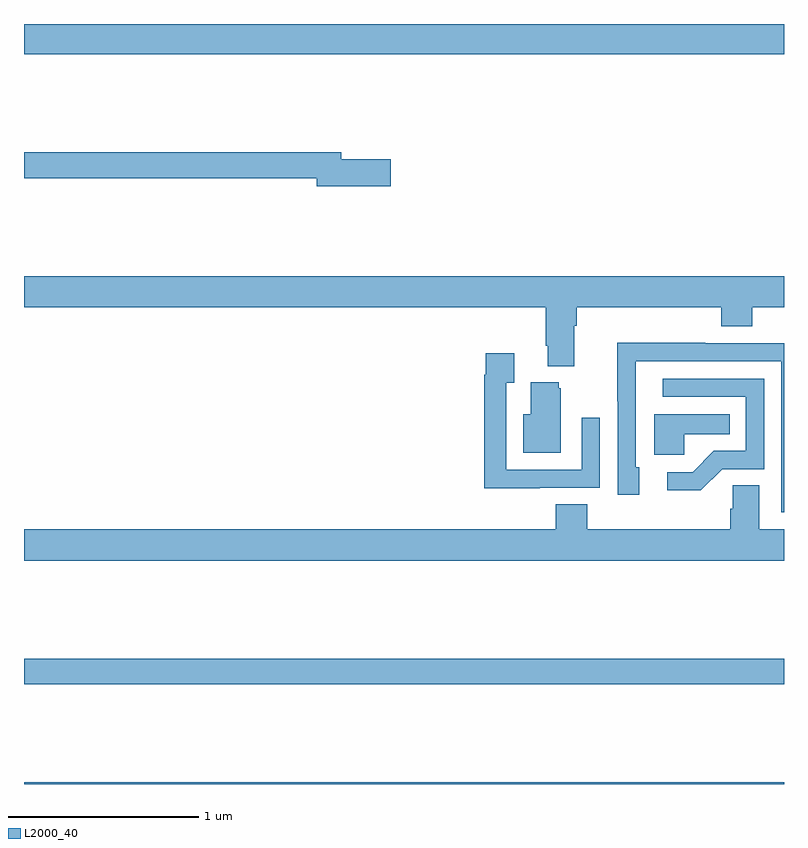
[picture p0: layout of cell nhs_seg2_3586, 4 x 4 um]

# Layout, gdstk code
import gdstk
lib = gdstk.Library(unit=1e-6, precision=1e-09)
def R(c, l, rs):  # rectangles x0, y0, x1, y1
    for r in rs: c.add(gdstk.rectangle(r[:2], r[2:], *l))
def P(c, l, *ps):  # polygons
    for p in ps: c.add(gdstk.Polygon(p, *l))
L2000_40 = (2000, 40)

nhs_seg2_3586 = lib.new_cell('nhs_seg2_3586')
R(nhs_seg2_3586, L2000_40, [(299,639.8,303,639.808), (299,640.324,303,640.46), (299,643.64,303,643.8)])
P(nhs_seg2_3586, L2000_40, [(300.931,643.088),(300.67,643.088),(300.67,643.124),(299,643.124),(299,642.988),(300.542,642.988),(300.542,642.946),(300.931,642.946)],
  [(301.897,642.212),(301.91,642.212),(301.91,642.308),(302.669,642.308),(302.669,642.209),(302.834,642.209),(302.834,642.308),(303,642.308),(303,642.472),(299,642.472),(299,642.308),(301.745,642.308),(301.745,642.106),(301.757,642.106),(301.757,641.999),(301.897,641.999)],
  [(303,642.12),(302.585,642.12),(302.585,642.122),(302.122,642.122),(302.122,641.815),(302.124,641.815),(302.124,641.322),(302.239,641.322),(302.239,641.466),(302.22,641.466),(302.22,641.77),(302.221,641.77),(302.221,642.024),(302.985,642.024),(302.985,641.229),(303,641.229)],
  [(301.715,641.358),(302.031,641.358),(302.031,641.728),(301.935,641.728),(301.935,641.454),(301.539,641.454),(301.539,641.911),(301.579,641.911),(301.579,642.067),(301.431,642.067),(301.431,641.954),(301.423,641.954),(301.423,641.357),(301.715,641.357)],
  [(302.676,641.457),(302.895,641.457),(302.895,641.934),(302.361,641.934),(302.361,641.838),(302.799,641.838),(302.799,641.553),(302.63,641.553),(302.519,641.442),(302.385,641.442),(302.385,641.345),(302.563,641.345)],
  [(301.825,641.883),(301.814,641.883),(301.814,641.914),(301.667,641.914),(301.667,641.746),(301.628,641.746),(301.628,641.543),(301.825,641.543)],
  [(302.475,641.642),(302.714,641.642),(302.714,641.746),(302.318,641.746),(302.318,641.534),(302.475,641.534)],
  [(303,641.14),(302.869,641.14),(302.869,641.372),(302.73,641.372),(302.73,641.249),(302.717,641.249),(302.717,641.14),(301.964,641.14),(301.964,641.273),(301.799,641.273),(301.799,641.14),(299,641.14),(299,640.976),(303,640.976)])

lib.write_gds('nhs_seg2_3586.gds')
